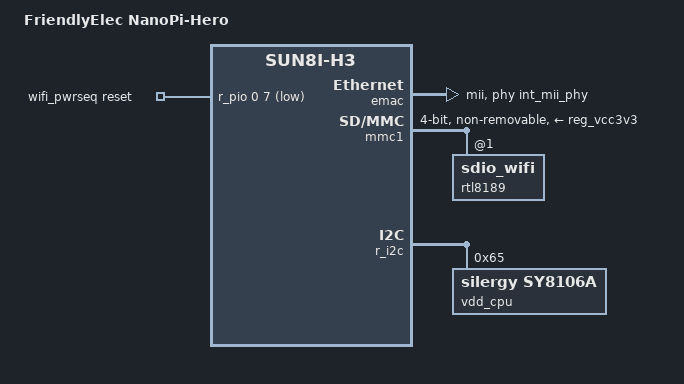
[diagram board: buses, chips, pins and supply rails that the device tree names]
/*
 * Copyright (C) 2016 Milo Kim <woogyom.kim@gmail.com>
 *
 * This file is dual-licensed: you can use it either under the terms
 * of the GPL or the X11 license, at your option. Note that this dual
 * licensing only applies to this file, and not this project as a
 * whole.
 *
 *  a) This file is free software; you can redistribute it and/or
 *     modify it under the terms of the GNU General Public License as
 *     published by the Free Software Foundation; either version 2 of the
 *     License, or (at your option) any later version.
 *
 *     This file is distributed in the hope that it will be useful,
 *     but WITHOUT ANY WARRANTY; without even the implied warranty of
 *     MERCHANTABILITY or FITNESS FOR A PARTICULAR PURPOSE.  See the
 *     GNU General Public License for more details.
 *
 * Or, alternatively,
 *
 *  b) Permission is hereby granted, free of charge, to any person
 *     obtaining a copy of this software and associated documentation
 *     files (the "Software"), to deal in the Software without
 *     restriction, including without limitation the rights to use,
 *     copy, modify, merge, publish, distribute, sublicense, and/or
 *     sell copies of the Software, and to permit persons to whom the
 *     Software is furnished to do so, subject to the following
 *     conditions:
 *
 *     The above copyright notice and this permission notice shall be
 *     included in all copies or substantial portions of the Software.
 *
 *     THE SOFTWARE IS PROVIDED "AS IS", WITHOUT WARRANTY OF ANY KIND,
 *     EXPRESS OR IMPLIED, INCLUDING BUT NOT LIMITED TO THE WARRANTIES
 *     OF MERCHANTABILITY, FITNESS FOR A PARTICULAR PURPOSE AND
 *     NONINFRINGEMENT. IN NO EVENT SHALL THE AUTHORS OR COPYRIGHT
 *     HOLDERS BE LIABLE FOR ANY CLAIM, DAMAGES OR OTHER LIABILITY,
 *     WHETHER IN AN ACTION OF CONTRACT, TORT OR OTHERWISE, ARISING
 *     FROM, OUT OF OR IN CONNECTION WITH THE SOFTWARE OR THE USE OR
 *     OTHER DEALINGS IN THE SOFTWARE.
 */

#include "sun8i-h3-nanopi.dtsi"

/ {
	model = "FriendlyElec NanoPi-Hero";
	compatible = "friendlyelec,nanopi-hero", "allwinner,sun8i-h3";

	wifi_pwrseq: wifi_pwrseq {
		compatible = "mmc-pwrseq-simple";
		pinctrl-names = "default";
		pinctrl-0 = <&wifi_en_npi>;
		reset-gpios = <&r_pio 0 7 GPIO_ACTIVE_LOW>; /* PL7 */
		post-power-on-delay-ms = <200>;
	};
};

&r_pio {
	wifi_en_npi: wifi_en_pin {
		pins = "PL7";
		function = "gpio_out";
	};
};

&emac {
	phy-handle = <&int_mii_phy>;
	phy-mode = "mii";
	allwinner,leds-active-low;
	status = "okay";
};

&mmc1 {
	pinctrl-names = "default";
	pinctrl-0 = <&mmc1_pins_a>;
	vmmc-supply = <&reg_vcc3v3>;
	vqmmc-supply = <&reg_vcc3v3>;
	mmc-pwrseq = <&wifi_pwrseq>;
	bus-width = <4>;
	non-removable;
	status = "okay";

	/*
	 * Explicitly define the sdio device, so that we can add an ethernet
	 * alias for it (which e.g. makes u-boot set a mac-address).
	 */
	rtl8189: sdio_wifi@1 {
		reg = <1>;
	};
};

&cpu0 {
	operating-points = <
		/* kHz	  uV */
		1368000 1400000
		1344000 1400000
		1296000 1340000
		1248000 1280000
		1224000 1260000
		1200000 1240000
		1152000 1200000
		1104000 1170000
		1080000 1160000
		1056000 1150000
		1008000 1100000
		960000  1080000
		936000  1060000
		912000  1050000
		864000  1040000
		816000  1000000
		792000  1000000
		768000  980000
		720000  970000
		672000  970000
		648000  970000
		528000  940000
		480000  940000
		240000  940000
		120000  940000
		>;
	#cooling-cells = <2>;
	cooling-min-level = <0>;
	cooling-max-level = <24>;
	cpu0-supply = <&vdd_cpu>;
};

&cpu_thermal {
	trips {
		cpu_warm: cpu_warm {
			temperature = <65000>;
			hysteresis = <2000>;
			type = "passive";
		};
		cpu_hot: cpu_hot {
			temperature = <75000>;
			hysteresis = <2000>;
			type = "passive";
		};
		cpu_very_hot: cpu_very_hot {
			temperature = <90000>;
			hysteresis = <2000>;
			type = "passive";
		};
		cpu_crit: cpu_crit {
			temperature = <105000>;
			hysteresis = <2000>;
			type = "critical";
		};
	};

	cooling-maps {
		cpu_warm_limit_cpu {
			trip = <&cpu_warm>;
			cooling-device = <&cpu0 THERMAL_NO_LIMIT THERMAL_NO_LIMIT>;
		};
		cpu_hot_limit_cpu {
			trip = <&cpu_hot>;
			cooling-device = <&cpu0 THERMAL_NO_LIMIT THERMAL_NO_LIMIT>;
		};
		cpu_very_hot_limit_cpu {
			trip = <&cpu_very_hot>;
			cooling-device = <&cpu0 18 THERMAL_NO_LIMIT>; /* Limit cpu speed above 90C to 720MHz */
		};
	};
};

&r_i2c {
	status = "okay";

	vdd_cpu: regulator@65 {
		compatible = "silergy,sy8106a";
		reg = <0x65>;
		regulator-min-microvolt = <940000>;
		regulator-max-microvolt = <1400000>;
		regulator-ramp-delay = <200>;
		regulator-boot-on;
		regulator-always-on;
	};
};
